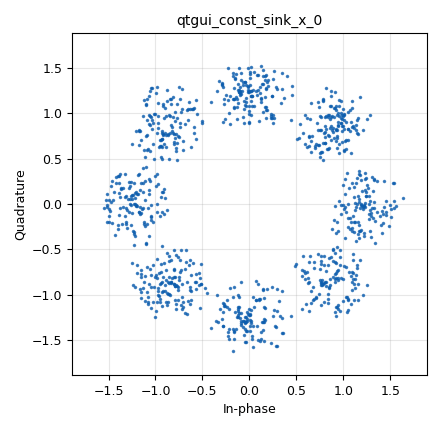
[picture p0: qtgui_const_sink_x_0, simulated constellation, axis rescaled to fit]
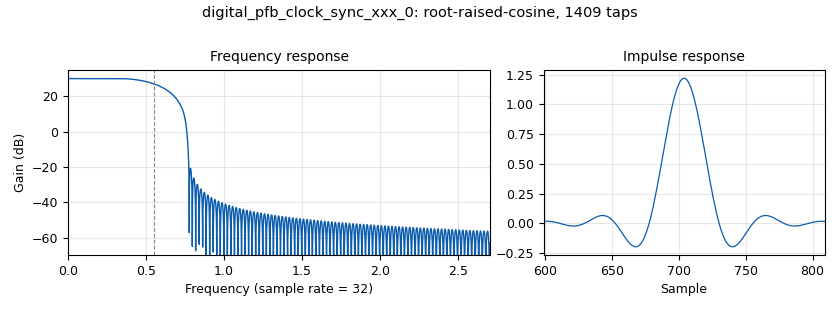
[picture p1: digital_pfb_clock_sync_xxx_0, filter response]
<?xml version='1.0' encoding='utf-8'?>
<?grc format='1' created='3.7.11'?>
<flow_graph>
<block>
<key>options</key>
<param><key>id</key><value>top_block</value></param>
<param><key>generate_options</key><value>qt_gui</value></param>
</block>
<block>
<key>variable</key>
<param><key>id</key><value>const_points</value></param>
<param><key>value</key><value>4</value></param>
</block>
<block>
<key>variable</key>
<param><key>id</key><value>excess_bw</value></param>
<param><key>value</key><value>0.4</value></param>
</block>
<block>
<key>variable</key>
<param><key>id</key><value>nfilts</value></param>
<param><key>value</key><value>32</value></param>
</block>
<block>
<key>variable</key>
<param><key>id</key><value>ntaps</value></param>
<param><key>value</key><value>11*nfilts*sps</value></param>
</block>
<block>
<key>variable</key>
<param><key>id</key><value>samp_rate</value></param>
<param><key>value</key><value>80000*sps</value></param>
</block>
<block>
<key>variable</key>
<param><key>id</key><value>sps</value></param>
<param><key>value</key><value>4</value></param>
</block>
<block>
<key>variable</key>
<param><key>id</key><value>tx_taps</value></param>
<param><key>value</key><value>firdes.root_raised_cosine(nfilts,nfilts,1.1,excess_bw,ntaps)</value></param>
</block>
<block>
<key>variable_qtgui_range</key>
<param><key>id</key><value>var1</value></param>
<param><key>value</key><value>0</value></param>
<param><key>_enabled</key><value>0</value></param>
<param><key>orient</key><value>Qt.Horizontal</value></param>
<param><key>start</key><value>-1</value></param>
<param><key>step</key><value>0.01</value></param>
<param><key>stop</key><value>1</value></param>
</block>
<block>
<key>variable_qtgui_range</key>
<param><key>id</key><value>var2</value></param>
<param><key>value</key><value>0</value></param>
<param><key>_enabled</key><value>0</value></param>
<param><key>orient</key><value>Qt.Horizontal</value></param>
<param><key>start</key><value>-1</value></param>
<param><key>step</key><value>0.01</value></param>
<param><key>stop</key><value>1</value></param>
</block>
<block>
<key>variable_qtgui_range</key>
<param><key>id</key><value>var3</value></param>
<param><key>value</key><value>0</value></param>
<param><key>_enabled</key><value>0</value></param>
<param><key>orient</key><value>Qt.Horizontal</value></param>
<param><key>start</key><value>-1</value></param>
<param><key>step</key><value>0.01</value></param>
<param><key>stop</key><value>1</value></param>
</block>
<block>
<key>variable_qtgui_range</key>
<param><key>id</key><value>var4</value></param>
<param><key>value</key><value>0</value></param>
<param><key>_enabled</key><value>0</value></param>
<param><key>orient</key><value>Qt.Horizontal</value></param>
<param><key>start</key><value>-1</value></param>
<param><key>step</key><value>0.01</value></param>
<param><key>stop</key><value>1</value></param>
</block>
<block>
<key>analog_random_source_x</key>
<param><key>id</key><value>analog_random_source_x_0</value></param>
<param><key>max</key><value>8</value></param>
<param><key>min</key><value>0</value></param>
<param><key>num_samps</key><value>1000</value></param>
<param><key>type</key><value>int</value></param>
<param><key>repeat</key><value>True</value></param>
</block>
<block>
<key>analog_sig_source_x</key>
<param><key>id</key><value>analog_sig_source_x_0</value></param>
<param><key>amp</key><value>1</value></param>
<param><key>freq</key><value>0.1</value></param>
<param><key>offset</key><value>0</value></param>
<param><key>type</key><value>complex</value></param>
<param><key>samp_rate</key><value>samp_rate</value></param>
<param><key>waveform</key><value>analog.GR_COS_WAVE</value></param>
</block>
<block>
<key>blocks_multiply_xx</key>
<param><key>id</key><value>blocks_multiply_xx_0</value></param>
<param><key>type</key><value>complex</value></param>
</block>
<block>
<key>import</key>
<param><key>id</key><value>digital</value></param>
<param><key>import</key><value>from gnuradio import digital</value></param>
</block>
<block>
<key>digital_chunks_to_symbols_xx</key>
<param><key>id</key><value>digital_chunks_to_symbols_xx_0</value></param>
<param><key>dimension</key><value>1</value></param>
<param><key>in_type</key><value>int</value></param>
<param><key>out_type</key><value>complex</value></param>
<param><key>symbol_table</key><value>((1), (-1), (1j), (-1j), (0.707-0.707j),(0.707+0.707j),(-0.707+0.707j),(-0.707-0.707j))</value></param>
</block>
<block>
<key>digital_pfb_clock_sync_xxx</key>
<param><key>id</key><value>digital_pfb_clock_sync_xxx_0</value></param>
<param><key>filter_size</key><value>nfilts</value></param>
<param><key>init_phase</key><value>16</value></param>
<param><key>loop_bw</key><value>2*pi/100</value></param>
<param><key>max_dev</key><value>1.5</value></param>
<param><key>osps</key><value>1</value></param>
<param><key>sps</key><value>sps</value></param>
<param><key>taps</key><value>tx_taps</value></param>
<param><key>type</key><value>ccf</value></param>
</block>
<block>
<key>import</key>
<param><key>id</key><value>filt</value></param>
<param><key>import</key><value>from gnuradio import filter</value></param>
</block>
<block>
<key>pfb_arb_resampler_xxx</key>
<param><key>id</key><value>pfb_arb_resampler_xxx_0</value></param>
<param><key>nfilts</key><value>32</value></param>
<param><key>rrate</key><value>sps</value></param>
<param><key>atten</key><value>100</value></param>
<param><key>taps</key><value>tx_taps</value></param>
<param><key>type</key><value>ccf</value></param>
</block>
<block>
<key>import</key>
<param><key>id</key><value>pi</value></param>
<param><key>import</key><value>from math import pi</value></param>
</block>
<block>
<key>qtgui_const_sink_x</key>
<param><key>id</key><value>qtgui_const_sink_x_0</value></param>
<param><key>size</key><value>1024</value></param>
<param><key>type</key><value>complex</value></param>
<param><key>ymax</key><value>8/7</value></param>
<param><key>ymin</key><value>-8/7</value></param>
</block>
<connection><source_block_id>analog_random_source_x_0</source_block_id><sink_block_id>digital_chunks_to_symbols_xx_0</sink_block_id><source_key>0</source_key><sink_key>0</sink_key></connection>
<connection><source_block_id>analog_sig_source_x_0</source_block_id><sink_block_id>blocks_multiply_xx_0</sink_block_id><source_key>0</source_key><sink_key>0</sink_key></connection>
<connection><source_block_id>blocks_multiply_xx_0</source_block_id><sink_block_id>digital_pfb_clock_sync_xxx_0</sink_block_id><source_key>0</source_key><sink_key>0</sink_key></connection>
<connection><source_block_id>digital_chunks_to_symbols_xx_0</source_block_id><sink_block_id>pfb_arb_resampler_xxx_0</sink_block_id><source_key>0</source_key><sink_key>0</sink_key></connection>
<connection><source_block_id>digital_pfb_clock_sync_xxx_0</source_block_id><sink_block_id>qtgui_const_sink_x_0</sink_block_id><source_key>0</source_key><sink_key>0</sink_key></connection>
<connection><source_block_id>pfb_arb_resampler_xxx_0</source_block_id><sink_block_id>blocks_multiply_xx_0</sink_block_id><source_key>0</source_key><sink_key>1</sink_key></connection>
</flow_graph>
